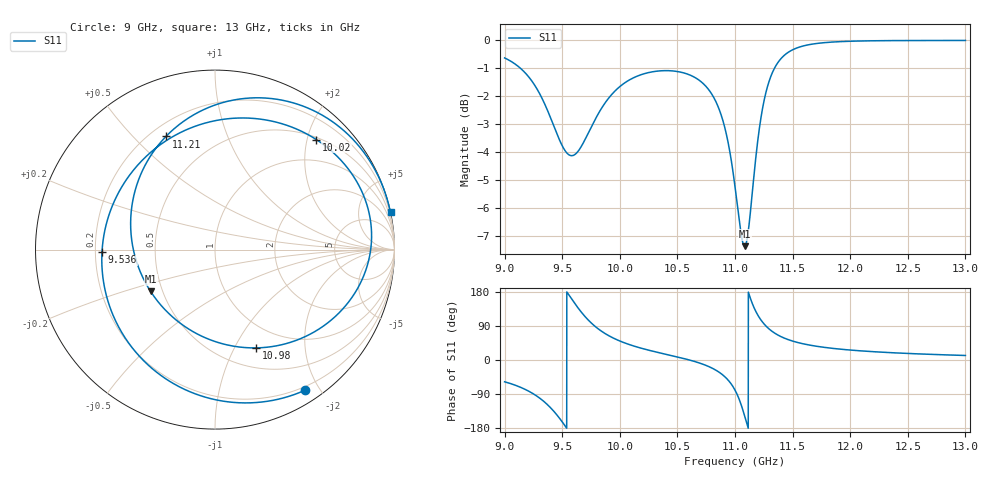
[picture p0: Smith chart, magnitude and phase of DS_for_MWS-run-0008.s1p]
! TOUCHSTONE file generated by CST DESIGN STUDIO
! Date and time: Tue Feb  4 14:07:52 2025
! Project name: C:\Work\MatlabApps\UnitCellOptimizationMatlab\CST\unitcell.cst
! Tree item: Tasks\Sweep1\SPara1\S-Parameters
! Header version: 2024
! Port assignment regex: !\s*Touchstone port\s*([0-9]+)\s*=\s*(CST MWS port|CST DES external port|CST DES block port)\s*(.+)\s* \(\"(.*)\"\)(\s*mode\s*([0-9]+))?.*
! Touchstone port assignment:
! Touchstone port 1 = CST DES external port 1 ("")
# GHz S MA R 50
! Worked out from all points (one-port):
!   4001 points, 9 GHz to 13 GHz, reference 50 ohm
!   lowest |S11| = -7.4 dB at 11.08 GHz (marker M1), VSWR 2.50, Z = 21.5 - j12.2 ohm
!   |S11| at or under -10 dB: nowhere
!   S11 on the Smith chart (normalised r, x): 9 GHz: 0.16, -1.81; 9.536 GHz: 0.23, -0.01; 10.02 GHz: 0.54, +2.17; 10.98 GHz: 0.73, -1.23; 11.21 GHz: 0.26, +0.62; 13 GHz: 0.02, +9.56
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9  0.9301 -57.5
9.149  0.8868 -73.5
9.299  0.8061 -99.4
9.398  0.7273 -125.7
9.5  0.6474 -163.2
9.536  0.6299 -178.6
9.644  0.6353 134.8
9.738  0.6899 101.9
9.846  0.7582 74.9
10  0.8263 50.2
10.023  0.8335 47.3
10.235  0.874 27.1
10.5  0.8793 8.0
10.801  0.7995 -21.4
10.896  0.7169 -40.0
10.976  0.594 -67.2
11  0.5469 -79.4
11.042  0.4664 -108.2
11.083  0.4278 -147.1
11.141  0.51 156.5
11.208  0.6869 113.4
11.309  0.8596 78.6
11.396  0.9258 62.1
11.5  0.9617 49.9
11.698  0.9864 36.7
12  0.9962 26.3
12.5  0.9992 17.3
13  0.9995 11.9
